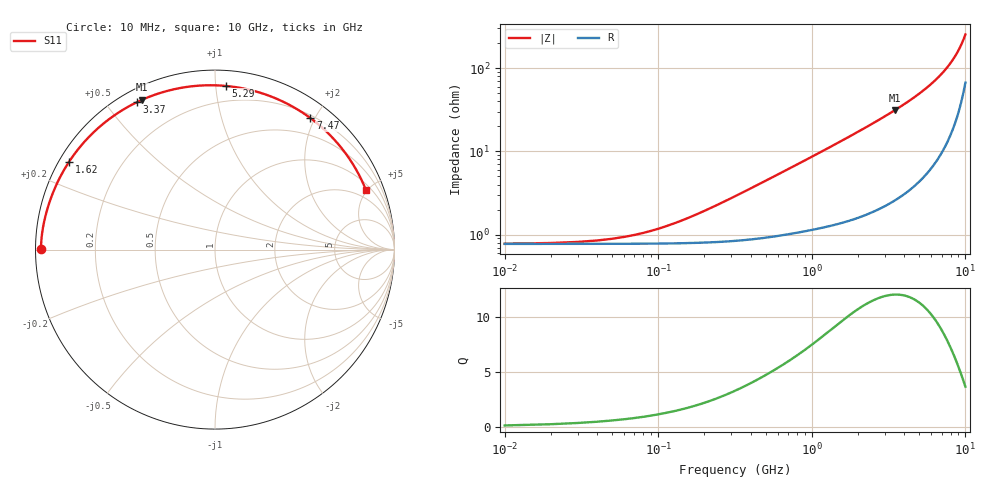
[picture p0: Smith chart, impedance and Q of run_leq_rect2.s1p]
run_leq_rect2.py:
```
import os
import numpy as np
from openEMS import openEMS
import matplotlib
matplotlib.use('Agg')
import matplotlib.pyplot as plt

from gds2openEMS import *

gds_filename = "Ind2_LEQ_RECT2_X100.0_Y202.5_SE.gds"
XML_filename = "/foss/designs/rapidpassives/try4/newflow/OPENEMS-GF180MCUD-1P5M-TM11KA-MIMB-STACKED4.xml"

settings = {}
settings['preview_only'] = False
settings['no_gui'] = True
settings['merge_polygon_size'] = 2
settings['resonance_estimation'] = True

script_path = utilities.get_script_path(__file__)
model_basename = utilities.get_basename(__file__)
sim_path = utilities.create_sim_path(script_path, model_basename)
print('Simulation data directory: ', sim_path)
os.chdir(os.path.dirname(os.path.abspath(__file__)))

settings['unit'] = 1e-6
settings['margin'] = 350
settings['fstart'] = 0
settings['fstop'] = 10e9
targetfreq = 2.4e9
settings['numfreq'] = 1001
settings['refined_cellsize'] = 0.5
settings['Boundaries'] = ['PEC', 'PEC', 'PEC', 'PEC', 'PEC', 'PEC']
settings['cells_per_wavelength'] = 10
settings['energy_limit'] = -60

simulation_ports = simulation_setup.all_simulation_ports()
simulation_ports.add_port(simulation_setup.simulation_port(portnumber=1, voltage=1, port_Z0=50, source_layernum=201, from_layername='M1', to_layername='TM', direction='z'))

materials_list, dielectrics_list, metals_list = stackup_reader.read_substrate(XML_filename)
layernumbers = metals_list.getlayernumbers()
layernumbers.extend(simulation_ports.portlayers)
allpolygons = gds_reader.read_gds(gds_filename, layernumbers, purposelist=[0], metals_list=metals_list, merge_polygon_size=settings['merge_polygon_size'])

FDTD = openEMS(EndCriteria=np.exp(settings['energy_limit']/10 * np.log(10)))
FDTD.SetGaussExcite((settings['fstart']+settings['fstop'])/2, (settings['fstop']-settings['fstart'])/2)
FDTD.SetBoundaryCond(settings['Boundaries'])

settings['simulation_ports'] = simulation_ports
settings['materials_list'] = materials_list
settings['dielectrics_list'] = dielectrics_list
settings['metals_list'] = metals_list
settings['layernumbers'] = layernumbers
settings['allpolygons'] = allpolygons
settings['sim_path'] = sim_path
settings['model_basename'] = model_basename

settings['excite_portnumbers'] = [1]
simulation_setup.setupSimulation(FDTD=FDTD, settings=settings)
simulation_setup.runSimulation(FDTD=FDTD, settings=settings)

if not settings['preview_only']:
    f = np.linspace(settings['fstart'], settings['fstop'], settings['numfreq'])
    s11 = utilities.calculate_Sij(1, 1, f, sim_path, simulation_ports)
    utilities.write_snp(np.array([s11]), f, os.path.join(sim_path, model_basename + '.s1p'), z0=simulation_ports.get_reference_impedance())

    z11 = utilities.calculate_Zij(1, 1, f, sim_path, simulation_ports)
    np.seterr(divide='ignore', invalid='ignore')
    omega = 2*np.pi*f
    Qse = z11.imag/z11.real
    Lse = z11.imag/omega
    Rse = z11.real

    findex = np.where(f >= targetfreq)[0].item(0)
    print('\nSingle-ended inductor parameters (LEQ_RECT2_X100.0_Y202.5)')
    print(f"Frequency [GHz]: {f[findex]/1e9:.3f}")
    print(f"Series L  [nH] : {Lse[findex]*1e9:.4f}")
    print(f"Series R  [Ohm]: {Rse[findex]:.4f}")
    print(f"Q factor       : {Qse[findex]:.3f}")
    print(f"Peak Q         : {max(Qse):.3f}")
```
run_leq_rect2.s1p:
#  Hz  S  RI  R  50
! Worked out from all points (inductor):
!   1000 points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, 10 MHz to 10 GHz, reference 50 ohm
!   read as one part to ground: L = 1.38 nH near 290 MHz
!   highest Q = 12.1 at 3.49 GHz (marker M1), where L = 1.43 nH
!   S11 on the Smith chart (normalised r, x): 10 MHz: 0.02, +0.00; 1.62 GHz: 0.03, +0.28; 3.37 GHz: 0.05, +0.60; 5.29 GHz: 0.10, +1.06; 7.47 GHz: 0.24, +1.94; 10 GHz: 1.34, +4.88
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1e7  -0.9695 0.00342
7.7e8  -0.9269 0.2496
1.62e9  -0.8145 0.4872
2.49e9  -0.6446 0.6827
3.34e9  -0.4429 0.8175
3.37e9  -0.4354 0.8212
3.49e9  -0.405 0.8352
4.37e9  -0.177 0.9032
5.29e9  0.0591 0.912
5.96e9  0.2209 0.883
6.67e9  0.3776 0.8251
7.47e9  0.5315 0.7327
8.74e9  0.7208 0.5453
1e10  0.8405 0.3334
